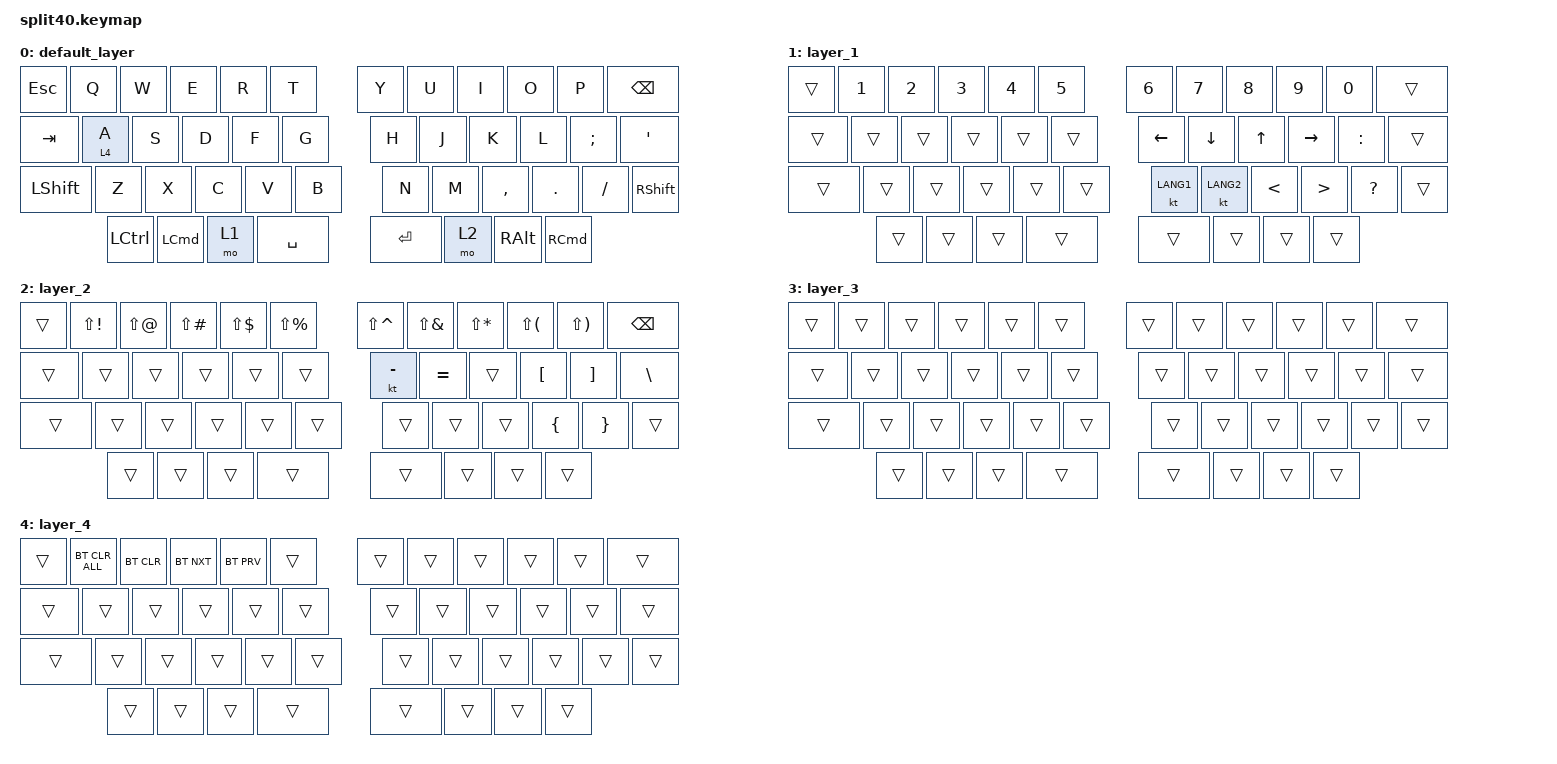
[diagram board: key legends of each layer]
/*
 * Copyright (c) 2022 The ZMK Contributors
 *
 * SPDX-License-Identifier: MIT
 */

#include <behaviors.dtsi>
#include <dt-bindings/zmk/bt.h>
#include <dt-bindings/zmk/keys.h>

/ {
    keymap {
        compatible = "zmk,keymap";

        default_layer {
            bindings = <
&kp ESCAPE      &kp Q             &kp W  &kp E      &kp R      &kp T  &kp Y     &kp U              &kp I      &kp O       &kp P          &kp BACKSPACE
&kp TAB         &lt 4 A           &kp S  &kp D      &kp F      &kp G  &kp H     &kp J              &kp K      &kp L       &kp SEMICOLON  &kp SINGLE_QUOTE
&kp LEFT_SHIFT  &kp Z             &kp X  &kp C      &kp V      &kp B  &kp N     &kp M              &kp COMMA  &kp PERIOD  &kp SLASH      &kp RSHIFT
&kp LCTRL       &kp LEFT_COMMAND  &mo 1  &kp SPACE  &kp ENTER  &mo 2  &kp RALT  &kp RIGHT_COMMAND
            >;
        };

        layer_1 {
            bindings = <
&trans  &kp N1  &kp N2  &kp N3  &kp N4  &kp N5  &kp N6     &kp N7     &kp N8  &kp N9     &kp N0     &trans
&trans  &trans  &trans  &trans  &trans  &trans  &kp LEFT   &kp DOWN   &kp UP  &kp RIGHT  &kp COLON  &trans
&trans  &trans  &trans  &trans  &trans  &trans  &kt LANG1  &kt LANG2  &kp LT  &kp GT     &kp QMARK  &trans
&trans  &trans  &trans  &trans  &trans  &trans  &trans     &trans
            >;
        };

        layer_2 {
            bindings = <
&trans  &kp LS(EXCL)  &kp LS(AT)  &kp LS(POUND)  &kp LS(DLLR)  &kp LS(PRCNT)  &kp LS(CARET)  &kp LS(AMPS)  &kp LS(STAR)  &kp LS(LPAR)  &kp LS(RPAR)  &kp BSPC
&trans  &trans        &trans      &trans         &trans        &trans         &kt MINUS      &kp EQUAL     &trans        &kp LBKT      &kp RBKT      &kp BSLH
&trans  &trans        &trans      &trans         &trans        &trans         &trans         &trans        &trans        &kp LBRC      &kp RBRC      &trans
&trans  &trans        &trans      &trans         &trans        &trans         &trans         &trans
            >;
        };

        layer_3 {
            bindings = <
&trans  &trans  &trans  &trans  &trans  &trans  &trans  &trans  &trans  &trans  &trans  &trans
&trans  &trans  &trans  &trans  &trans  &trans  &trans  &trans  &trans  &trans  &trans  &trans
&trans  &trans  &trans  &trans  &trans  &trans  &trans  &trans  &trans  &trans  &trans  &trans
&trans  &trans  &trans  &trans  &trans  &trans  &trans  &trans
            >;
        };

        layer_4 {
            bindings = <
&trans  &bt BT_CLR_ALL  &bt BT_CLR  &bt BT_NXT  &bt BT_PRV  &trans  &trans  &trans  &trans  &trans  &trans  &trans
&trans  &trans          &trans      &trans      &trans      &trans  &trans  &trans  &trans  &trans  &trans  &trans
&trans  &trans          &trans      &trans      &trans      &trans  &trans  &trans  &trans  &trans  &trans  &trans
&trans  &trans          &trans      &trans      &trans      &trans  &trans  &trans
            >;
        };
    };
};
